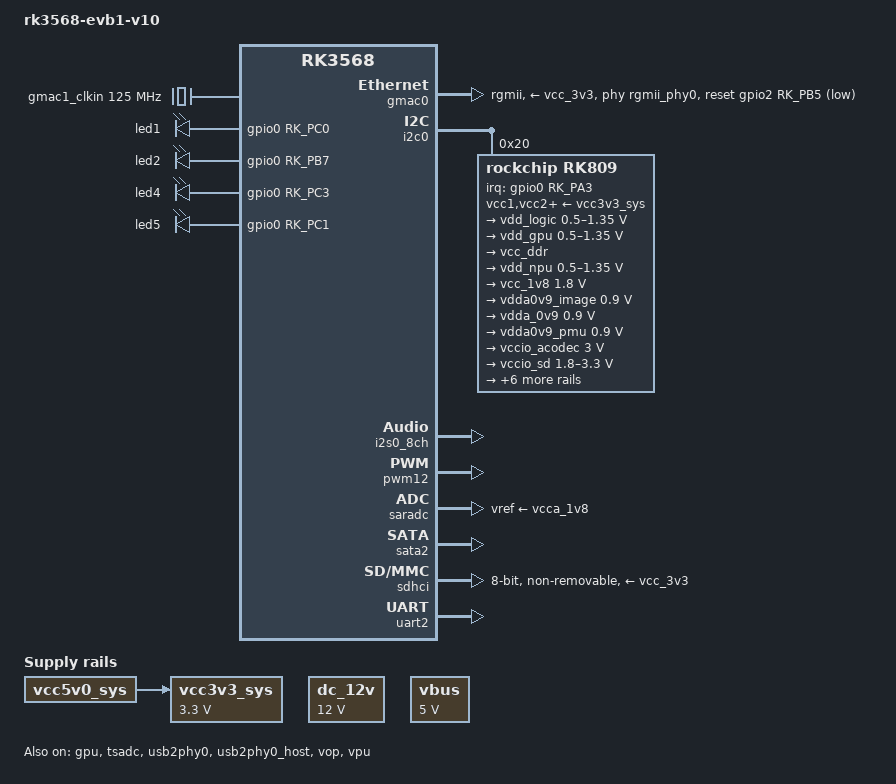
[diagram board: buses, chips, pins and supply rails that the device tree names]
// SPDX-License-Identifier: (GPL-2.0+ OR MIT)
/*
 * Copyright (c) 2024 hqnicolas <hqnicolas@msn.com>
 */

/dts-v1/;

#include <dt-bindings/gpio/gpio.h>
#include <dt-bindings/input/input.h>
#include <dt-bindings/pinctrl/rockchip.h>
#include <dt-bindings/soc/rockchip,vop2.h>

#include "rk3568-evb1-ddr4-v10.dtsi"

/ {
	model = "rk3568-evb1-v10";
	compatible = "rk3568-evb1-v10,rk3568", "rockchip,rk3568";
	bootargs = "earlycon=uart8250,mmio32,0xfe660000 console=ttyFIQ0";

	aliases {
		ethernet0 = &gmac1;
		mmc1 = &sdmmc0;
		mmc0 = &sdhci;
		mmc2 = &sdmmc1;
	};

	chosen: chosen {
		stdout-path = "serial2:1500000n8";
	};

	gmac1_clkin: external-gmac1-clock {
		compatible = "fixed-clock";
		clock-frequency = <125000000>;
		clock-output-names = "gmac1_clkin";
		#clock-cells = <0>;
	};

	dc_12v: dc-12v {
		compatible = "regulator-fixed";
		regulator-name = "dc_12v";
		regulator-always-on;
		regulator-boot-on;
		regulator-min-microvolt = <12000000>;
		regulator-max-microvolt = <12000000>;
	};

	vcc3v3_sys: vcc3v3-sys {
		compatible = "regulator-fixed";
		regulator-name = "vcc3v3_sys";
		regulator-always-on;
		regulator-boot-on;
		regulator-min-microvolt = <3300000>;
		regulator-max-microvolt = <3300000>;
		vin-supply = <&vcc5v0_sys>;
	};

	leds {
		status = "okay";
		compatible = "gpio-leds";

		led1 {
			label = "led1";
			// 原0x00替换为GPIO_ACTIVE_HIGH（高电平点亮）
			gpios = <&gpio0 RK_PC0 GPIO_ACTIVE_HIGH>;
			default-state = "off";
			pinctrl-names = "default";
			pinctrl-0 = <&led1_pin>;
		};

		led2 {
			label = "led2";
			gpios = <&gpio0 RK_PB7 GPIO_ACTIVE_HIGH>;
			default-state = "off";
			pinctrl-names = "default";
			pinctrl-0 = <&led2_pin>;
		};

		led4 {
			label = "led4";
			gpios = <&gpio0 RK_PC3 GPIO_ACTIVE_HIGH>;
			default-state = "off";
			pinctrl-names = "default";
			pinctrl-0 = <&led4_pin>;
		};

		led5 {
			label = "led5";
			gpios = <&gpio0 RK_PC1 GPIO_ACTIVE_HIGH>;
			default-state = "off";
			pinctrl-names = "default";
			pinctrl-0 = <&led5_pin>;
		};
	};

	vbus: vbus-regulator {
		compatible = "regulator-fixed";
		regulator-name = "vbus";
		regulator-always-on;
		regulator-boot-on;
		regulator-min-microvolt = <5000000>;
		regulator-max-microvolt = <5000000>;
	};

	rk809_sound: rk809-sound {
		status = "okay";
		compatible = "simple-audio-card";
		simple-audio-card,format = "i2s";
		simple-audio-card,name = "rockchip,rk809-codec";
		simple-audio-card,mclk-fs = <256>;

		simple-audio-card,cpu {
			sound-dai = <&i2s1_8ch>;
		};
		simple-audio-card,codec {
			sound-dai = <&rk809_codec>;
		};
	};
};

&cpu0 {
	cpu-supply = <&vdd_cpu>;
};

&cpu1 {
	cpu-supply = <&vdd_cpu>;
};

&cpu2 {
	cpu-supply = <&vdd_cpu>;
};

&cpu3 {
	cpu-supply = <&vdd_cpu>;
};

&gmac0 {
	phy-mode = "rgmii";
	status = "okay";

	/* PHY 电源 */
	phy-supply = <&vcc_3v3>;

	/* 复位引脚: GPIO2_PB5, 低电平有效 */
	snps,reset-gpio = <&gpio2 RK_PB5 GPIO_ACTIVE_LOW>;
	snps,reset-active-low;
	snps,reset-delays-us = <0 20000 100000>;

	/* RGMII 时钟方向: 由 SoC 输出给 PHY */
	clock_in_out = "output";

	/* RGMII 收发延迟线 */
	tx_delay = <0x43>;
	rx_delay = <0x33>;

	/* 时钟分配 */
	assigned-clocks = <&cru SCLK_GMAC0_RX_TX>, <&cru SCLK_GMAC0>;
	assigned-clock-parents = <&cru SCLK_GMAC0_RGMII_SPEED>, <&cru CLK_MAC0_2TOP>;
	assigned-clock-rates = <0>, <125000000>;

	/* 引脚功能复用 */
	pinctrl-names = "default";
	pinctrl-0 = <&gmac0_miim
	             &gmac0_tx_bus2
	             &gmac0_rx_bus2
	             &gmac0_rgmii_clk
	             &gmac0_rgmii_bus>;

	/* PHY 句柄，指向下面的 MDIO PHY 设备 */
	phy-handle = <&rgmii_phy0>;
};

&gpu {
	mali-supply = <&vdd_gpu>;
	status = "okay";
};

&i2c0 {
	status = "okay";
	/* 
	 * 确保 i2c0_xfer 或类似名称的 pinctrl 节点被正确定义，
	 * 它应包含第一份配置中的 GPIO0_B1 和 GPIO0_B2 引脚。
	 */
	pinctrl-names = "default";
	pinctrl-0 = <&i2c0_xfer>;

	/* 
	 * PMIC pmic@20 节点
	 * 完整地从第一份配置迁移而来，并转换为高可读性格式。
	 */
	rk809: pmic@20 {
		compatible = "rockchip,rk809";
		reg = <0x20>;
		wakeup-source;
		rockchip,system-power-controller;

		/* 中断引脚，使用高可读性格式表示 <0x36> <0x03 0x08> */
		interrupt-parent = <&gpio0>;
		interrupts = <RK_PA3 IRQ_TYPE_LEVEL_LOW>;

		/* 确保 pmic_int_l 指向 PMIC 中断引脚的 pinctrl 定义 */
		pinctrl-names = "default";
		pinctrl-0 = <&pmic_int_l>;
		
		#clock-cells = <1>;
		clock-output-names = "rk808-clkout1", "rk808-clkout2";

		/* PMIC 自身的供电，假设 <0x3d> 等同于 vcc3v3_sys */
		vcc1-supply = <&vcc3v3_sys>;
		vcc2-supply = <&vcc3v3_sys>;
		vcc3-supply = <&vcc3v3_sys>;
		vcc4-supply = <&vcc3v3_sys>;
		vcc5-supply = <&vcc3v3_sys>;
		vcc6-supply = <&vcc3v3_sys>;
		vcc7-supply = <&vcc3v3_sys>;
		vcc8-supply = <&vcc3v3_sys>;
		vcc9-supply = <&vcc3v3_sys>;


		regulators {
			vdd_logic: DCDC_REG1 {
				regulator-name = "vdd_logic";
				regulator-always-on;
				regulator-boot-on;
				regulator-min-microvolt = <500000>;      // 0x7a120
				regulator-max-microvolt = <1350000>;     // 0x149970
				regulator-init-microvolt = <900000>;     // 0xdbba0
				regulator-ramp-delay = <6001>;           // 0x1771
				regulator-initial-mode = <2>;
				regulator-state-mem {
					regulator-off-in-suspend;
				};
			};

			vdd_gpu: DCDC_REG2 {
				regulator-name = "vdd_gpu";
				regulator-always-on;
				regulator-boot-on;
				regulator-min-microvolt = <500000>;      // 0x7a120
				regulator-max-microvolt = <1350000>;     // 0x149970
				regulator-init-microvolt = <900000>;     // 0xdbba0
				regulator-ramp-delay = <6001>;           // 0x1771
				regulator-initial-mode = <2>;
				regulator-state-mem {
					regulator-off-in-suspend;
				};
			};

			vcc_ddr: DCDC_REG3 {
				regulator-name = "vcc_ddr";
				regulator-always-on;
				regulator-boot-on;
				regulator-initial-mode = <2>;
				regulator-state-mem {
					regulator-on-in-suspend;
				};
			};

			vdd_npu: DCDC_REG4 {
				regulator-name = "vdd_npu";
				regulator-always-on;
				regulator-boot-on;
				regulator-min-microvolt = <500000>;      // 0x7a120
				regulator-max-microvolt = <1350000>;     // 0x149970
				regulator-init-microvolt = <900000>;     // 0xdbba0
				regulator-ramp-delay = <6001>;           // 0x1771
				regulator-initial-mode = <2>;
				regulator-state-mem {
					regulator-off-in-suspend;
				};
			};
			
			vcc_1v8: DCDC_REG5 {
				regulator-name = "vcc_1v8";
				regulator-always-on;
				regulator-boot-on;
				regulator-min-microvolt = <1800000>;     // 0x1b7740
				regulator-max-microvolt = <1800000>;     // 0x1b7740
				regulator-state-mem {
					regulator-off-in-suspend;
				};
			};

			vdda0v9_image: LDO_REG1 {
				regulator-name = "vdda0v9_image";
				regulator-always-on;
				regulator-boot-on;
				regulator-min-microvolt = <900000>;      // 0xdbba0
				regulator-max-microvolt = <900000>;      // 0xdbba0
				regulator-state-mem {
					regulator-off-in-suspend;
				};
			};

			vdda_0v9: LDO_REG2 {
				regulator-name = "vdda_0v9";
				regulator-always-on;
				regulator-boot-on;
				regulator-min-microvolt = <900000>;      // 0xdbba0
				regulator-max-microvolt = <900000>;      // 0xdbba0
				regulator-state-mem {
					regulator-off-in-suspend;
				};
			};

			vdda0v9_pmu: LDO_REG3 {
				regulator-name = "vdda0v9_pmu";
				regulator-always-on;
				regulator-boot-on;
				regulator-min-microvolt = <900000>;      // 0xdbba0
				regulator-max-microvolt = <900000>;      // 0xdbba0
				regulator-state-mem {
					regulator-on-in-suspend;
					regulator-suspend-microvolt = <900000>;
				};
			};

			vccio_acodec: LDO_REG4 {
				regulator-name = "vccio_acodec";
				regulator-always-on;
				regulator-boot-on;
				regulator-min-microvolt = <3000000>;     // 0x2dc6c0, 注意! 与第二份配置不同
				regulator-max-microvolt = <3000000>;     // 0x2dc6c0
				regulator-state-mem {
					regulator-off-in-suspend;
				};
			};

			vccio_sd: LDO_REG5 {
				regulator-name = "vccio_sd";
				regulator-always-on;
				regulator-boot-on;
				regulator-min-microvolt = <1800000>;     // 0x1b7740
				regulator-max-microvolt = <3300000>;     // 0x325aa0
				regulator-state-mem {
					regulator-off-in-suspend;
				};
			};

			vcc3v3_pmu: LDO_REG6 {
				regulator-name = "vcc3v3_pmu";
				regulator-always-on;
				regulator-boot-on;
				regulator-min-microvolt = <3300000>;     // 0x325aa0
				regulator-max-microvolt = <3300000>;     // 0x325aa0
				regulator-state-mem {
					regulator-on-in-suspend;
					regulator-suspend-microvolt = <3300000>;
				};
			};

			vcca_1v8: LDO_REG7 {
				regulator-name = "vcca_1v8";
				regulator-always-on;
				regulator-boot-on;
				regulator-min-microvolt = <1800000>;     // 0x1b7740
				regulator-max-microvolt = <1800000>;     // 0x1b7740
				regulator-state-mem {
					regulator-off-in-suspend;
				};
			};

			vcca1v8_pmu: LDO_REG8 {
				regulator-name = "vcca1v8_pmu";
				regulator-always-on;
				regulator-boot-on;
				regulator-min-microvolt = <1800000>;     // 0x1b7740
				regulator-max-microvolt = <1800000>;     // 0x1b7740
				regulator-state-mem {
					regulator-on-in-suspend;
					regulator-suspend-microvolt = <1800000>;
				};
			};

			vcca1v8_image: LDO_REG9 {
				regulator-name = "vcca1v8_image";
				regulator-always-on;
				regulator-boot-on;
				regulator-min-microvolt = <1800000>;     // 0x1b7740
				regulator-max-microvolt = <1800000>;     // 0x1b7740
				regulator-state-mem {
					regulator-off-in-suspend;
				};
			};
			
			vcc_3v3: SWITCH_REG1 {
				regulator-name = "vcc_3v3";
				regulator-always-on;
				regulator-boot-on;
				regulator-state-mem {
					regulator-off-in-suspend;
				};
			};

			vcc3v3_sd: SWITCH_REG2 {
				regulator-name = "vcc3v3_sd";
				regulator-always-on;
				regulator-boot-on;
				regulator-state-mem {
					regulator-off-in-suspend;
				};
			};
		}; // regulators end

        rk809_codec: codec {
			mic-in-differential;
	    }; // codec end
	}; // pmic end
}; // &i2c0 end


&i2s0_8ch {
	status = "okay";
};

&i2s1_8ch {
	pinctrl-names = "default";
	pinctrl-0 = <&i2s1m0_sclktx
				 &i2s1m0_lrcktx
				 &i2s1m0_sdi0
				 &i2s1m0_sdo0>;
	rockchip,trcm-sync-tx-only;
};

&pinctrl {
    pmic {
        pmic_int_l: pmic-int-l {
			rockchip,pins = <0 RK_PA3 RK_FUNC_GPIO &pcfg_pull_up>;
        };
    };

    leds {
        led1_pin: led1_pin {
            rockchip,pins = <0 RK_PC0 RK_FUNC_GPIO &pcfg_pull_none>;
        };
        led2_pin: led2_pin {
            rockchip,pins = <0 RK_PB7 RK_FUNC_GPIO &pcfg_pull_none>;
    	};
    	led4_pin: led4_pin {
            rockchip,pins = <0 RK_PC3 RK_FUNC_GPIO &pcfg_pull_none>;
        };
        led5_pin: led5_pin {
            rockchip,pins = <0 RK_PC1 RK_FUNC_GPIO &pcfg_pull_none>;
        };
	};
};

&pmu_io_domains {
	pmuio1-supply = <&vcc3v3_pmu>;
	pmuio2-supply = <&vcc3v3_pmu>;
	vccio1-supply = <&vccio_acodec>;
	vccio2-supply = <&vcc_1v8>;
	vccio3-supply = <&vccio_sd>;
	vccio4-supply = <&vcc_1v8>;
	vccio5-supply = <&vcc_3v3>;
	vccio6-supply = <&vcc_1v8>;
	vccio7-supply = <&vcc_3v3>;
	status = "okay";
};

&pwm12 {
	pinctrl-0 = <&pwm12m1_pins>;
	pinctrl-names = "default";
	status = "okay";
};

&saradc {
	vref-supply = <&vcca_1v8>;
	status = "okay";
};

&sata2 {
	status = "okay";
};

&sdhci {
	status = "okay";
	bus-width = <8>;
	max-frequency = <200000000>;
	non-removable;
	supports-emmc;
	mmc-hs200-1_8v; // 支持 HS200 模式 @ 1.8V
	vmmc-supply = <&vcc_3v3>;
	vqmmc-supply = <&vcc_1v8>;
};

&tsadc {
	status = "okay";
};

&uart2 {
	status = "okay";
};

&usb2phy0 {
	status = "okay";
};

&usb2phy0_host {
	status = "okay";
};

&vop {
	assigned-clocks = <&cru DCLK_VOP0>, <&cru DCLK_VOP1>;
	assigned-clock-parents = <&pmucru PLL_HPLL>, <&cru PLL_VPLL>;
	status = "okay";
};

&vpu {
	status = "okay";
};

&vop_mmu {
	status = "okay";
};
